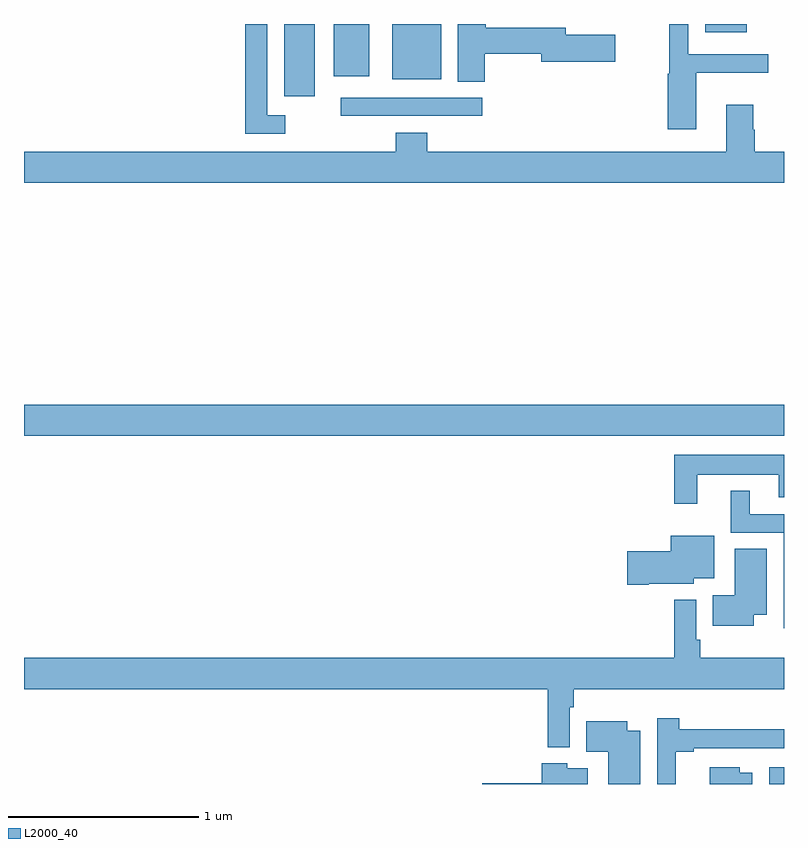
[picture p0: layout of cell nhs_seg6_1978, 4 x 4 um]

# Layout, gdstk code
import gdstk
lib = gdstk.Library(unit=1e-6, precision=1e-09)
def R(c, l, rs):  # rectangles x0, y0, x1, y1
    for r in rs: c.add(gdstk.rectangle(r[:2], r[2:], *l))
def P(c, l, *ps):  # polygons
    for p in ps: c.add(gdstk.Polygon(p, *l))
L2000_40 = (2000, 40)

nhs_seg6_1978 = lib.new_cell('nhs_seg6_1978')
R(nhs_seg6_1978, L2000_40, [(232.922,949.5,233,949.588), (229,951.332,233,951.496), (230.667,953.016,231.412,953.112), (230.369,953.121,230.53,953.5), (230.939,953.21,231.196,953.5), (230.63,953.225,230.818,953.5), (232.586,953.456,232.804,953.5)])
P(nhs_seg6_1978, L2000_40, [(232.537,953.243),(232.916,953.243),(232.916,953.34),(232.497,953.34),(232.497,953.5),(232.396,953.5),(232.396,953.237),(232.388,953.237),(232.388,952.947),(232.537,952.947)],
  [(230.374,953.019),(230.28,953.019),(230.28,953.5),(230.164,953.5),(230.164,952.923),(230.374,952.923)],
  [(231.426,953.344),(231.722,953.344),(231.722,953.302),(232.111,953.302),(232.111,953.444),(231.85,953.444),(231.85,953.48),(231.431,953.48),(231.431,953.5),(231.284,953.5),(231.284,953.197),(231.426,953.197)],
  [(233,952.828),(232.845,952.828),(232.845,952.943),(232.837,952.943),(232.837,953.074),(232.697,953.074),(232.697,952.828),(231.122,952.828),(231.122,952.927),(230.957,952.927),(230.957,952.828),(229,952.828),(229,952.664),(233,952.664)],
  [(232.543,951.128),(232.973,951.128),(232.973,951.009),(233,951.009),(233,951.232),(232.422,951.232),(232.422,950.976),(232.543,950.976)],
  [(233,950.919),(232.819,950.919),(232.819,951.043),(232.721,951.043),(232.721,950.823),(232.998,950.823),(232.998,950.319),(233,950.319)],
  [(232.288,950.555),(232.524,950.555),(232.524,950.582),(232.633,950.582),(232.633,950.806),(232.403,950.806),(232.403,950.726),(232.176,950.726),(232.176,950.548),(232.288,950.548)],
  [(232.84,950.39),(232.909,950.39),(232.909,950.738),(232.742,950.738),(232.742,950.494),(232.624,950.494),(232.624,950.333),(232.84,950.333)],
  [(231.873,949.904),(231.893,949.904),(231.893,950),(233,950),(233,950.164),(232.559,950.164),(232.559,950.26),(232.539,950.26),(232.539,950.47),(232.423,950.47),(232.423,950.164),(229,950.164),(229,950),(231.757,950),(231.757,949.694),(231.873,949.694)],
  [(232.43,949.669),(232.525,949.669),(232.525,949.689),(233,949.689),(233,949.787),(232.448,949.787),(232.448,949.846),(232.332,949.846),(232.332,949.5),(232.43,949.5)],
  [(232.243,949.78),(232.174,949.78),(232.174,949.831),(231.958,949.831),(231.958,949.67),(232.076,949.67),(232.076,949.5),(232.243,949.5)],
  [(231.967,949.582),(231.858,949.582),(231.858,949.609),(231.725,949.609),(231.725,949.505),(231.412,949.505),(231.412,949.5),(231.967,949.5)],
  [(232.834,949.558),(232.768,949.558),(232.768,949.588),(232.61,949.588),(232.61,949.5),(232.834,949.5)])

lib.write_gds('nhs_seg6_1978.gds')
